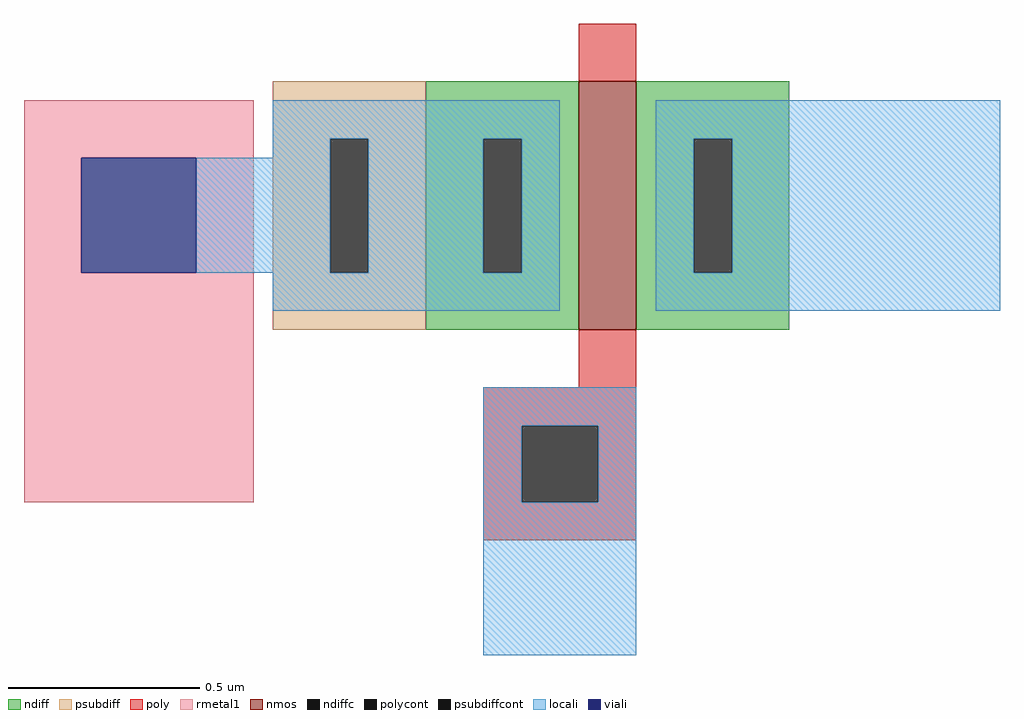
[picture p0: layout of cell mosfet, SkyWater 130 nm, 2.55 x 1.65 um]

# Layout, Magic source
magic
tech sky130A
<< nmos >>
rect 40 0 55 65
<< ndiff >>
rect 0 50 40 65
rect 0 15 15 50
rect 25 15 40 50
rect 0 0 40 15
rect 55 50 95 65
rect 55 15 70 50
rect 80 15 95 50
rect 55 0 95 15
<< ndiffc >>
rect 15 15 25 50
rect 70 15 80 50
<< psubdiff >>
rect -40 50 0 65
rect -40 15 -25 50
rect -15 15 0 50
rect -40 0 0 15
<< psubdiffcont >>
rect -25 15 -15 50
<< poly >>
rect 40 65 55 80
rect 40 -15 55 0
rect 15 -25 55 -15
rect 15 -45 25 -25
rect 45 -45 55 -25
rect 15 -55 55 -45
<< polycont >>
rect 25 -45 45 -25
<< locali >>
rect -40 50 35 60
rect -40 45 -25 50
rect -60 15 -25 45
rect -15 15 15 50
rect 25 15 35 50
rect -40 5 35 15
rect 60 50 150 60
rect 60 15 70 50
rect 80 15 150 50
rect 60 5 150 15
rect 15 -25 55 -15
rect 15 -45 25 -25
rect 45 -45 55 -25
rect 15 -85 55 -45
<< viali >>
rect -90 15 -60 45
<< rmetal1 >>
rect -105 45 -45 60
rect -105 15 -90 45
rect -60 15 -45 45
rect -105 -45 -45 15
<< end >>
